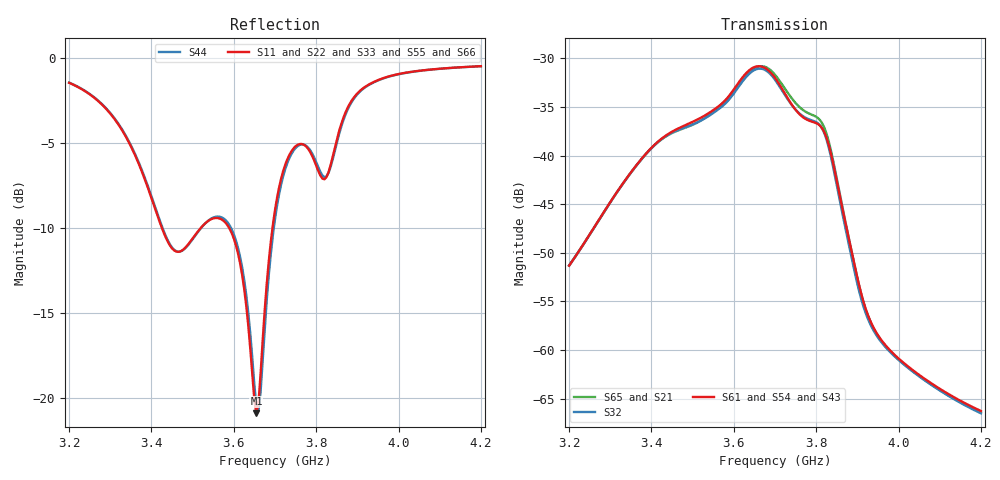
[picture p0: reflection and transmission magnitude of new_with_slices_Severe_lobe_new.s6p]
! Touchstone file exported from HFSS 2024.2.0
!  File:  D:/Jatin/new_with_slices.aedt
!  Generated:  01:09:02 AM Oct  4, 2026
!  Design:  Severe_lobe
!  Project:  new_with_slices
!  Setup:  Setup1
!  Solution:  Sweep
! Variables:
!  $L = 85mm
!  $W = 35mm
!  H = 1.575mm
!  L = 42mm
!  W = 35mm
!  Wb = 6mm
!  a = 3.5mm
!  ant_dist = 115mm
!  ant_gap = 3mm
!  b = 5mm
!  c = 5mm
!  d = 2mm
!  e_S1 = 15.5mm
!  e_S2 = 17.5mm
!  e_S3 = 18mm
!  e_S4 = 11.5mm
!  e_S5 = 18mm
!  e_S6 = 17.5mm
!  g1 = 2mm
!  g2 = 2mm
!  g3 = 1mm
!  g4 = 2mm
!  gap = 10mm
!  r1 = 3.5mm
!  r2 = 6mm
!  r_brain = 95mm
!  r_brain_ad = 61.68mm
!  r_csf = 95.5mm
!  r_csf_expanded = 64.6mm
!  r_csf_inner = 61.68mm
!  r_csf_outer = 83.5mm
!  r_fat = 87.5mm
!  r_gray = 70.55mm
!  r_gray_healthy = 83mm
!  r_grey_healthy = 83mm
!  r_hip = 7.5mm
!  r_hippo_healthy = 25mm
!  r_skin = 88mm
!  r_skull = 86.5mm
!  r_white = 17.5mm
!  r_white_healthy = 76mm
!  slot_distance = 15mm
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# GHz S MA R 50.000000
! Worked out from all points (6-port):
!   201 points, 3.2 GHz to 4.2 GHz, reference 50 ohm
!   strongest paths, dB at 3.2 GHz, 3.45 GHz, 3.7 GHz, 3.95 GHz, 4.2 GHz:
!     S61: -51.3, -37.5, -32.0, -58.5, -66.3
!     S54: -51.3, -37.6, -31.9, -58.5, -66.4
!     S32: -51.3, -37.6, -32.2, -58.7, -66.5
!     S65: -51.3, -37.7, -31.7, -58.5, -66.4
!     S21: -51.4, -37.6, -31.7, -58.5, -66.2
!     S43: -51.4, -37.7, -31.7, -58.5, -66.4
!   lowest |S11| = -20.9 dB at 3.655 GHz (marker M1), VSWR 1.20, Z = 43.4 - j5.27 ohm
!   |S11| at or under -10 dB: 3.425 GHz to 3.519 GHz (93.9 MHz wide, 2.7 % of centre); 3.589 GHz to 3.694 GHz (105 MHz wide, 2.88 % of centre)
